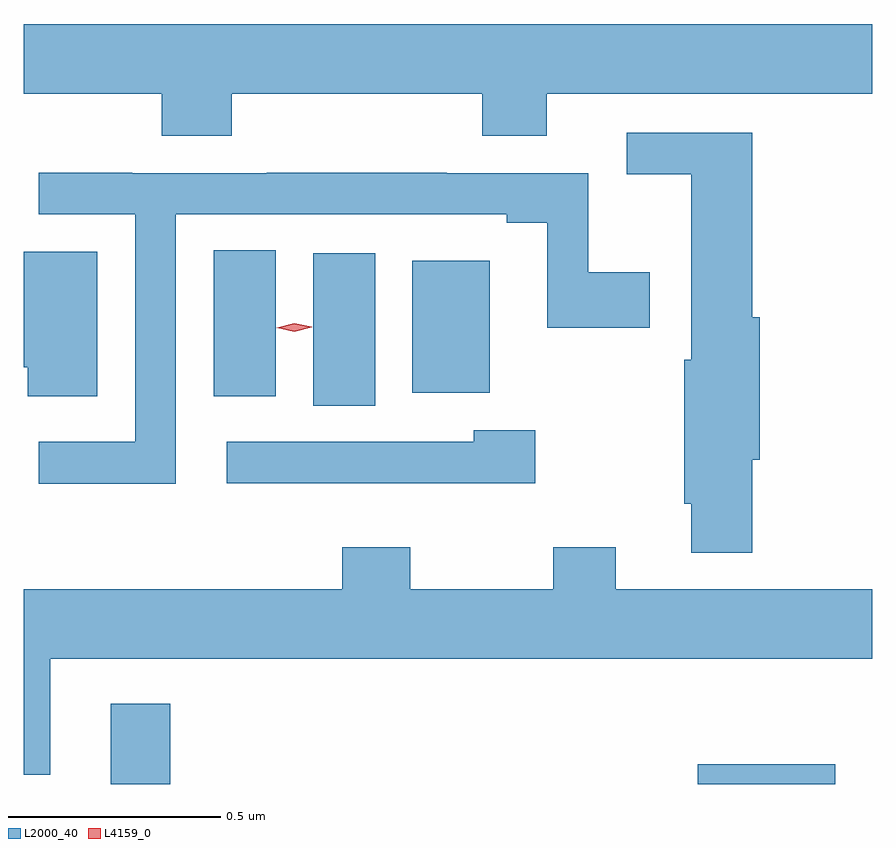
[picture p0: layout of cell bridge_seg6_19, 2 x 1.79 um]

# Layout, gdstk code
import gdstk
lib = gdstk.Library(unit=1e-6, precision=1e-09)
def R(c, l, rs):  # rectangles x0, y0, x1, y1
    for r in rs: c.add(gdstk.rectangle(r[:2], r[2:], *l))
def P(c, l, *ps):  # polygons
    for p in ps: c.add(gdstk.Polygon(p, *l))
L2000_40 = (2000, 40)
L4159_0 = (4159, 0)

bridge_seg6_19 = lib.new_cell('bridge_seg6_19')
R(bridge_seg6_19, L2000_40, [(900.581,948.373,900.722,948.562), (901.965,948.373,902.289,948.42), (901.058,949.264,901.204,949.624), (900.824,949.287,900.97,949.631), (901.292,949.295,901.474,949.606)])
P(bridge_seg6_19, L2000_40, [(900.866,950),(901.457,950),(901.457,949.901),(901.609,949.901),(901.609,950),(902.376,950),(902.376,950.164),(900.376,950.164),(900.376,950),(900.701,950),(900.701,949.901),(900.866,949.901)],
  [(902.093,949.137),(902.111,949.137),(902.111,949.473),(902.093,949.473),(902.093,949.908),(901.797,949.908),(901.797,949.81),(901.949,949.81),(901.949,949.373),(901.933,949.373),(901.933,949.034),(901.949,949.034),(901.949,948.918),(902.093,948.918)],
  [(900.735,949.716),(901.514,949.716),(901.514,949.696),(901.61,949.696),(901.61,949.448),(901.852,949.448),(901.852,949.579),(901.707,949.579),(901.707,949.812),(901.373,949.812),(901.373,949.814),(900.949,949.814),(900.949,949.812),(900.632,949.812),(900.632,949.814),(900.411,949.814),(900.411,949.716),(900.639,949.716),(900.639,949.179),(900.411,949.179),(900.411,949.081),(900.735,949.081)],
  [(900.55,949.627),(900.376,949.627),(900.376,949.355),(900.386,949.355),(900.386,949.287),(900.55,949.287)],
  [(901.582,949.207),(901.437,949.207),(901.437,949.179),(900.855,949.179),(900.855,949.082),(901.582,949.082)],
  [(900.439,948.668),(902.376,948.668),(902.376,948.832),(901.771,948.832),(901.771,948.931),(901.624,948.931),(901.624,948.832),(901.287,948.832),(901.287,948.931),(901.127,948.931),(901.127,948.832),(900.376,948.832),(900.376,948.395),(900.439,948.395)])
P(bridge_seg6_19, L4159_0, [(901.014,949.439),(900.973,949.448),(900.972,949.448),(900.973,949.448),(901.014,949.459),(901.055,949.45),(901.055,949.45),(901.055,949.449)])

lib.write_gds('bridge_seg6_19.gds')
